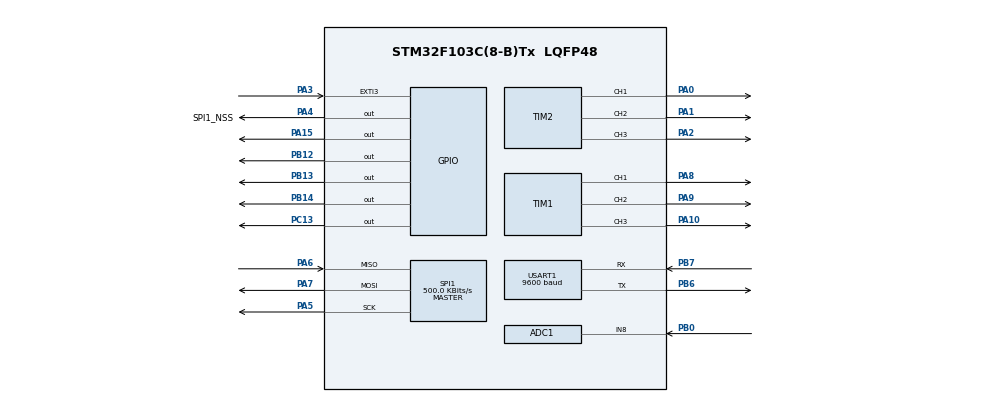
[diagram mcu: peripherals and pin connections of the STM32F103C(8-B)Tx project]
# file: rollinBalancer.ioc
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ADC1.Channel-2\#ChannelRegularConversion=ADC_CHANNEL_8
ADC1.NbrOfConversionFlag=1
ADC1.Rank-2\#ChannelRegularConversion=1
ADC1.SamplingTime-2\#ChannelRegularConversion=ADC_SAMPLETIME_1CYCLE_5
ADC1.master=1
Mcu.Family=STM32F1
Mcu.Name=STM32F103C(8-B)Tx
Mcu.Package=LQFP48
NVIC.EXTI3_IRQn=true\:0\:0\:false\:false\:true\:true\:true\:true
NVIC.PriorityGroup=NVIC_PRIORITYGROUP_4
NVIC.TIM1_CC_IRQn=true\:0\:0\:false\:false\:true\:true\:true\:true
PA0-WKUP.Signal=S_TIM2_CH1_ETR
PA1.Signal=S_TIM2_CH2
PA10.Signal=S_TIM1_CH3
PA13.Mode=Serial_Wire
PA13.Signal=SYS_JTMS-SWDIO
PA14.Mode=Serial_Wire
PA14.Signal=SYS_JTCK-SWCLK
PA15.Signal=GPIO_Output
PA2.Signal=S_TIM2_CH3
PA3.GPIO_PuPd=GPIO_PULLUP
PA3.Signal=GPXTI3
PA4.GPIO_Label=SPI1_NSS
PA4.PinState=GPIO_PIN_SET
PA4.Signal=GPIO_Output
PA5.Mode=Full_Duplex_Master
PA5.Signal=SPI1_SCK
PA6.Mode=Full_Duplex_Master
PA6.Signal=SPI1_MISO
PA7.Mode=Full_Duplex_Master
PA7.Signal=SPI1_MOSI
PA8.Signal=S_TIM1_CH1
PA9.Signal=S_TIM1_CH2
PB0.Signal=ADCx_IN8
PB12.Signal=GPIO_Output
PB13.Signal=GPIO_Output
PB14.Signal=GPIO_Output
PB6.Mode=Asynchronous
PB6.Signal=USART1_TX
PB7.Mode=Asynchronous
PB7.Signal=USART1_RX
PC13-TAMPER-RTC.Signal=GPIO_Output
PD0-OSC_IN.Mode=HSE-External-Oscillator
PD0-OSC_IN.Signal=RCC_OSC_IN
PD1-OSC_OUT.Mode=HSE-External-Oscillator
PD1-OSC_OUT.Signal=RCC_OSC_OUT
ProjectManager.HeapSize=0x200
ProjectManager.StackSize=0x400
ProjectManager.TargetToolchain=STM32CubeIDE
RCC.AHBFreq_Value=8000000
RCC.APB1CLKDivider=RCC_HCLK_DIV2
RCC.APB1Freq_Value=4000000
RCC.APB1TimFreq_Value=8000000
RCC.APB2CLKDivider=RCC_HCLK_DIV2
RCC.APB2Freq_Value=4000000
RCC.APB2TimFreq_Value=8000000
RCC.HCLKFreq_Value=8000000
RCC.PLLMUL=RCC_PLL_MUL6
RCC.PLLSourceVirtual=RCC_PLLSOURCE_HSE
RCC.SYSCLKFreq_VALUE=8000000
RCC.USBFreq_Value=48000000
SH.ADCx_IN8.0=ADC1_IN8,IN8
SH.S_TIM1_CH1.0=TIM1_CH1,PWM Generation1 CH1
SH.S_TIM1_CH2.0=TIM1_CH2,PWM Generation2 CH2
SH.S_TIM1_CH3.0=TIM1_CH3,PWM Generation3 CH3
SH.S_TIM2_CH1_ETR.0=TIM2_CH1,PWM Generation1 CH1
SH.S_TIM2_CH2.0=TIM2_CH2,PWM Generation2 CH2
SH.S_TIM2_CH3.0=TIM2_CH3,PWM Generation3 CH3
SPI1.BaudRatePrescaler=SPI_BAUDRATEPRESCALER_8
SPI1.CLKPhase=SPI_PHASE_2EDGE
SPI1.CLKPolarity=SPI_POLARITY_HIGH
SPI1.CRCCalculation=SPI_CRCCALCULATION_DISABLE
SPI1.CalculateBaudRate=500.0 KBits/s
SPI1.Direction=SPI_DIRECTION_2LINES
SPI1.Mode=SPI_MODE_MASTER
SPI1.VirtualType=VM_MASTER
TIM1.AutoReloadPreload=TIM_AUTORELOAD_PRELOAD_ENABLE
TIM1.Channel-PWM\ Generation1\ CH1=TIM_CHANNEL_1
TIM1.Channel-PWM\ Generation2\ CH2=TIM_CHANNEL_2
TIM1.Channel-PWM\ Generation3\ CH3=TIM_CHANNEL_3
TIM2.Channel-PWM\ Generation1\ CH1=TIM_CHANNEL_1
TIM2.Channel-PWM\ Generation2\ CH2=TIM_CHANNEL_2
TIM2.Channel-PWM\ Generation3\ CH3=TIM_CHANNEL_3
USART1.BaudRate=9600
USART1.VirtualMode=VM_ASYNC
VP_TIM1_VS_ClockSourceINT.Mode=Internal
VP_TIM2_VS_ClockSourceINT.Mode=Internal
board=custom

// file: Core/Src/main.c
/* USER CODE BEGIN Header */
/**
  ******************************************************************************
  * @file           : main.c
  * @brief          : Main program body
  ******************************************************************************
  * @attention
  *
  * <h2><center>&copy; Copyright (c) 2022 STMicroelectronics.
  * All rights reserved.</center></h2>
  *
  * This software component is licensed by ST under Ultimate Liberty license
  * SLA0044, the "License"; You may not use this file except in compliance with
  * the License. You may obtain a copy of the License at:
  *                             www.st.com/SLA0044
  *
  ******************************************************************************
  */
/* USER CODE END Header */
#include "main.h"

/* USER CODE BEGIN Includes */
#include "mpu9250.h"
#include "as5600.h"
#include "string_buffer.h"

/* USER CODE END Includes */

ADC_HandleTypeDef hadc1;

UART_HandleTypeDef huart1;

void SystemClock_Config(void);
static void MX_GPIO_Init(void);
static void MX_TIM1_Init(void);
static void MX_TIM2_Init(void);
static void MX_SPI1_Init(void);
static void MX_ADC1_Init(void);
static void MX_USART1_UART_Init(void);

/* USER CODE BEGIN 0 */
void _wait_some_time(void) {
	for(uint32_t cnt = 50000; cnt; cnt--) {
		asm("NOP");
	}
}

static float acc_xy_angle_deg;
static float gyr_z_angle_deg_rate, gyr_z_angle_deg;
static float angle_deg, angle_deg_prev = 0;

float get_angle_deg(void) {
	return angle_deg;
}

void read_mpu9250_values(void) {
	mpu9250_read_sensor_values();
	acc_xy_angle_deg = mpu9250_get_acc_xy_angle_deg();
	acc_xy_angle_deg -= 90.0f;
	gyr_z_angle_deg_rate = mpu9250_get_gyr_z_angle_rate_deg_pro_s();
	gyr_z_angle_deg = gyr_z_angle_deg_rate * 0.01201;//0.01192; //meas_time in s

	// complementary filter for angle from accelerometer and gyroscope
	angle_deg = 0.95 * (angle_deg_prev + gyr_z_angle_deg) + 0.05 * acc_xy_angle_deg;
	angle_deg_prev = angle_deg;
}

static void read_mpu9250_string(void) {
	read_mpu9250_values();
	uint16_t ang = as5600_read_angle();

	string_buffer_new();
	string_buffer_append_float(acc_xy_angle_deg, 3);
	string_buffer_append_separator();
	string_buffer_append_float(gyr_z_angle_deg, 3);
	string_buffer_append_separator();
	string_buffer_append_float(angle_deg, 3);
	string_buffer_append_separator();
	string_buffer_append_int16((int16_t)ang);
	string_buffer_append_separator();
	string_buffer_append_int16(0);
	string_buffer_append_char('\n');

	angle_deg_prev = angle_deg;
	string_buffer_send_usb();
}

/* USER CODE END 0 */

int main(void)
{

  /* MCU Configuration--------------------------------------------------------*/

  /* Reset of all peripherals, Initializes the Flash interface and the Systick. */
  HAL_Init();

  /* Configure the system clock */
  SystemClock_Config();

  /* Initialize all configured peripherals */
  MX_GPIO_Init();
  MX_TIM1_Init();
  MX_TIM2_Init();
  MX_SPI1_Init();
  MX_ADC1_Init();
  MX_USART1_UART_Init();
  /* USER CODE BEGIN 2 */

  mpu9250_init();
  /* USER CODE END 2 */

  /* Infinite loop */
  /* USER CODE BEGIN WHILE */
  while (1)
  {
	  read_mpu9250_string();

	  _wait_some_time();
    /* USER CODE END WHILE */

  }
}

void SystemClock_Config(void)
{
  LL_FLASH_SetLatency(LL_FLASH_LATENCY_0);
  while(LL_FLASH_GetLatency()!= LL_FLASH_LATENCY_0)
  {
  }
  LL_RCC_HSI_SetCalibTrimming(16);
  LL_RCC_HSI_Enable();

   /* Wait till HSI is ready */
  while(LL_RCC_HSI_IsReady() != 1)
  {

  }
  LL_RCC_SetAHBPrescaler(LL_RCC_SYSCLK_DIV_1);
  LL_RCC_SetAPB1Prescaler(LL_RCC_APB1_DIV_2);
  LL_RCC_SetAPB2Prescaler(LL_RCC_APB2_DIV_2);
  LL_RCC_SetSysClkSource(LL_RCC_SYS_CLKSOURCE_HSI);

   /* Wait till System clock is ready */
  while(LL_RCC_GetSysClkSource() != LL_RCC_SYS_CLKSOURCE_STATUS_HSI)
  {

  }
  LL_SetSystemCoreClock(8000000);

   /* Update the time base */
  if (HAL_InitTick (TICK_INT_PRIORITY) != HAL_OK)
  {
    Error_Handler();
  }
  LL_RCC_SetADCClockSource(LL_RCC_ADC_CLKSRC_PCLK2_DIV_2);
}

static void MX_ADC1_Init(void)
{

  ADC_ChannelConfTypeDef sConfig = {0};

  /** Common config
  */
  hadc1.Instance = ADC1;
  hadc1.Init.ScanConvMode = ADC_SCAN_DISABLE;
  hadc1.Init.ContinuousConvMode = DISABLE;
  hadc1.Init.DiscontinuousConvMode = DISABLE;
  hadc1.Init.ExternalTrigConv = ADC_SOFTWARE_START;
  hadc1.Init.DataAlign = ADC_DATAALIGN_RIGHT;
  hadc1.Init.NbrOfConversion = 1;
  if (HAL_ADC_Init(&hadc1) != HAL_OK)
  {
    Error_Handler();
  }

  /** Configure Regular Channel
  */
  sConfig.Channel = ADC_CHANNEL_8;
  sConfig.Rank = ADC_REGULAR_RANK_1;
  sConfig.SamplingTime = ADC_SAMPLETIME_1CYCLE_5;
  if (HAL_ADC_ConfigChannel(&hadc1, &sConfig) != HAL_OK)
  {
    Error_Handler();
  }

}

static void MX_SPI1_Init(void)
{

  LL_SPI_InitTypeDef SPI_InitStruct = {0};

  LL_GPIO_InitTypeDef GPIO_InitStruct = {0};

  /* Peripheral clock enable */
  LL_APB2_GRP1_EnableClock(LL_APB2_GRP1_PERIPH_SPI1);

  LL_APB2_GRP1_EnableClock(LL_APB2_GRP1_PERIPH_GPIOA);
  /**SPI1 GPIO Configuration
  PA5   ------> SPI1_SCK
  PA6   ------> SPI1_MISO
  PA7   ------> SPI1_MOSI
  */
  GPIO_InitStruct.Pin = LL_GPIO_PIN_5|LL_GPIO_PIN_7;
  GPIO_InitStruct.Mode = LL_GPIO_MODE_ALTERNATE;
  GPIO_InitStruct.Speed = LL_GPIO_SPEED_FREQ_HIGH;
  GPIO_InitStruct.OutputType = LL_GPIO_OUTPUT_PUSHPULL;
  LL_GPIO_Init(GPIOA, &GPIO_InitStruct);

  GPIO_InitStruct.Pin = LL_GPIO_PIN_6;
  GPIO_InitStruct.Mode = LL_GPIO_MODE_FLOATING;
  LL_GPIO_Init(GPIOA, &GPIO_InitStruct);

  /* SPI1 parameter configuration*/
  SPI_InitStruct.TransferDirection = LL_SPI_FULL_DUPLEX;
  SPI_InitStruct.Mode = LL_SPI_MODE_MASTER;
  SPI_InitStruct.DataWidth = LL_SPI_DATAWIDTH_8BIT;
  SPI_InitStruct.ClockPolarity = LL_SPI_POLARITY_HIGH;
  SPI_InitStruct.ClockPhase = LL_SPI_PHASE_2EDGE;
  SPI_InitStruct.NSS = LL_SPI_NSS_SOFT;
  SPI_InitStruct.BaudRate = LL_SPI_BAUDRATEPRESCALER_DIV8;
  SPI_InitStruct.BitOrder = LL_SPI_MSB_FIRST;
  SPI_InitStruct.CRCCalculation = LL_SPI_CRCCALCULATION_DISABLE;
  SPI_InitStruct.CRCPoly = 10;
  LL_SPI_Init(SPI1, &SPI_InitStruct);

}

static void MX_TIM1_Init(void)
{

  LL_TIM_InitTypeDef TIM_InitStruct = {0};
  LL_TIM_OC_InitTypeDef TIM_OC_InitStruct = {0};
  LL_TIM_BDTR_InitTypeDef TIM_BDTRInitStruct = {0};

  LL_GPIO_InitTypeDef GPIO_InitStruct = {0};

  /* Peripheral clock enable */
  LL_APB2_GRP1_EnableClock(LL_APB2_GRP1_PERIPH_TIM1);

  /* TIM1 interrupt Init */
  NVIC_SetPriority(TIM1_CC_IRQn, NVIC_EncodePriority(NVIC_GetPriorityGrouping(),0, 0));
  NVIC_EnableIRQ(TIM1_CC_IRQn);

  TIM_InitStruct.Prescaler = 0;
  TIM_InitStruct.CounterMode = LL_TIM_COUNTERMODE_UP;
  TIM_InitStruct.Autoreload = 65535;
  TIM_InitStruct.ClockDivision = LL_TIM_CLOCKDIVISION_DIV1;
  TIM_InitStruct.RepetitionCounter = 0;
  LL_TIM_Init(TIM1, &TIM_InitStruct);
  LL_TIM_EnableARRPreload(TIM1);
  LL_TIM_SetClockSource(TIM1, LL_TIM_CLOCKSOURCE_INTERNAL);
  LL_TIM_OC_EnablePreload(TIM1, LL_TIM_CHANNEL_CH1);
  TIM_OC_InitStruct.OCMode = LL_TIM_OCMODE_PWM1;
  TIM_OC_InitStruct.OCState = LL_TIM_OCSTATE_DISABLE;
  TIM_OC_InitStruct.OCNState = LL_TIM_OCSTATE_DISABLE;
  TIM_OC_InitStruct.CompareValue = 0;
  TIM_OC_InitStruct.OCPolarity = LL_TIM_OCPOLARITY_HIGH;
  TIM_OC_InitStruct.OCNPolarity = LL_TIM_OCPOLARITY_HIGH;
  TIM_OC_InitStruct.OCIdleState = LL_TIM_OCIDLESTATE_LOW;
  TIM_OC_InitStruct.OCNIdleState = LL_TIM_OCIDLESTATE_LOW;
  LL_TIM_OC_Init(TIM1, LL_TIM_CHANNEL_CH1, &TIM_OC_InitStruct);
  LL_TIM_OC_DisableFast(TIM1, LL_TIM_CHANNEL_CH1);
  LL_TIM_OC_EnablePreload(TIM1, LL_TIM_CHANNEL_CH2);
  LL_TIM_OC_Init(TIM1, LL_TIM_CHANNEL_CH2, &TIM_OC_InitStruct);
  LL_TIM_OC_DisableFast(TIM1, LL_TIM_CHANNEL_CH2);
  LL_TIM_OC_EnablePreload(TIM1, LL_TIM_CHANNEL_CH3);
  LL_TIM_OC_Init(TIM1, LL_TIM_CHANNEL_CH3, &TIM_OC_InitStruct);
  LL_TIM_OC_DisableFast(TIM1, LL_TIM_CHANNEL_CH3);
  LL_TIM_SetTriggerOutput(TIM1, LL_TIM_TRGO_RESET);
  LL_TIM_DisableMasterSlaveMode(TIM1);
  TIM_BDTRInitStruct.OSSRState = LL_TIM_OSSR_DISABLE;
  TIM_BDTRInitStruct.OSSIState = LL_TIM_OSSI_DISABLE;
  TIM_BDTRInitStruct.LockLevel = LL_TIM_LOCKLEVEL_OFF;
  TIM_BDTRInitStruct.DeadTime = 0;
  TIM_BDTRInitStruct.BreakState = LL_TIM_BREAK_DISABLE;
  TIM_BDTRInitStruct.BreakPolarity = LL_TIM_BREAK_POLARITY_HIGH;
  TIM_BDTRInitStruct.AutomaticOutput = LL_TIM_AUTOMATICOUTPUT_DISABLE;
  LL_TIM_BDTR_Init(TIM1, &TIM_BDTRInitStruct);
  LL_APB2_GRP1_EnableClock(LL_APB2_GRP1_PERIPH_GPIOA);
  /**TIM1 GPIO Configuration
  PA8   ------> TIM1_CH1
  PA9   ------> TIM1_CH2
  PA10   ------> TIM1_CH3
  */
  GPIO_InitStruct.Pin = LL_GPIO_PIN_8|LL_GPIO_PIN_9|LL_GPIO_PIN_10;
  GPIO_InitStruct.Mode = LL_GPIO_MODE_ALTERNATE;
  GPIO_InitStruct.Speed = LL_GPIO_SPEED_FREQ_LOW;
  GPIO_InitStruct.OutputType = LL_GPIO_OUTPUT_PUSHPULL;
  LL_GPIO_Init(GPIOA, &GPIO_InitStruct);

}

static void MX_TIM2_Init(void)
{

  LL_TIM_InitTypeDef TIM_InitStruct = {0};
  LL_TIM_OC_InitTypeDef TIM_OC_InitStruct = {0};

  LL_GPIO_InitTypeDef GPIO_InitStruct = {0};

  /* Peripheral clock enable */
  LL_APB1_GRP1_EnableClock(LL_APB1_GRP1_PERIPH_TIM2);

  TIM_InitStruct.Prescaler = 0;
  TIM_InitStruct.CounterMode = LL_TIM_COUNTERMODE_UP;
  TIM_InitStruct.Autoreload = 65535;
  TIM_InitStruct.ClockDivision = LL_TIM_CLOCKDIVISION_DIV1;
  LL_TIM_Init(TIM2, &TIM_InitStruct);
  LL_TIM_DisableARRPreload(TIM2);
  LL_TIM_SetClockSource(TIM2, LL_TIM_CLOCKSOURCE_INTERNAL);
  LL_TIM_OC_EnablePreload(TIM2, LL_TIM_CHANNEL_CH1);
  TIM_OC_InitStruct.OCMode = LL_TIM_OCMODE_PWM1;
  TIM_OC_InitStruct.OCState = LL_TIM_OCSTATE_DISABLE;
  TIM_OC_InitStruct.OCNState = LL_TIM_OCSTATE_DISABLE;
  TIM_OC_InitStruct.CompareValue = 0;
  TIM_OC_InitStruct.OCPolarity = LL_TIM_OCPOLARITY_HIGH;
  LL_TIM_OC_Init(TIM2, LL_TIM_CHANNEL_CH1, &TIM_OC_InitStruct);
  LL_TIM_OC_DisableFast(TIM2, LL_TIM_CHANNEL_CH1);
  LL_TIM_OC_EnablePreload(TIM2, LL_TIM_CHANNEL_CH2);
  LL_TIM_OC_Init(TIM2, LL_TIM_CHANNEL_CH2, &TIM_OC_InitStruct);
  LL_TIM_OC_DisableFast(TIM2, LL_TIM_CHANNEL_CH2);
  LL_TIM_OC_EnablePreload(TIM2, LL_TIM_CHANNEL_CH3);
  LL_TIM_OC_Init(TIM2, LL_TIM_CHANNEL_CH3, &TIM_OC_InitStruct);
  LL_TIM_OC_DisableFast(TIM2, LL_TIM_CHANNEL_CH3);
  LL_TIM_SetTriggerOutput(TIM2, LL_TIM_TRGO_RESET);
  LL_TIM_DisableMasterSlaveMode(TIM2);
  LL_APB2_GRP1_EnableClock(LL_APB2_GRP1_PERIPH_GPIOA);
  /**TIM2 GPIO Configuration
  PA0-WKUP   ------> TIM2_CH1
  PA1   ------> TIM2_CH2
  PA2   ------> TIM2_CH3
  */
  GPIO_InitStruct.Pin = LL_GPIO_PIN_0|LL_GPIO_PIN_1|LL_GPIO_PIN_2;
  GPIO_InitStruct.Mode = LL_GPIO_MODE_ALTERNATE;
  GPIO_InitStruct.Speed = LL_GPIO_SPEED_FREQ_LOW;
  GPIO_InitStruct.OutputType = LL_GPIO_OUTPUT_PUSHPULL;
  LL_GPIO_Init(GPIOA, &GPIO_InitStruct);

}

static void MX_USART1_UART_Init(void)
{

  huart1.Instance = USART1;
  huart1.Init.BaudRate = 9600;
  huart1.Init.WordLength = UART_WORDLENGTH_8B;
  huart1.Init.StopBits = UART_STOPBITS_1;
  huart1.Init.Parity = UART_PARITY_NONE;
  huart1.Init.Mode = UART_MODE_TX_RX;
  huart1.Init.HwFlowCtl = UART_HWCONTROL_NONE;
  huart1.Init.OverSampling = UART_OVERSAMPLING_16;
  if (HAL_UART_Init(&huart1) != HAL_OK)
  {
    Error_Handler();
  }

}

static void MX_GPIO_Init(void)
{
  LL_EXTI_InitTypeDef EXTI_InitStruct = {0};
  LL_GPIO_InitTypeDef GPIO_InitStruct = {0};

  /* GPIO Ports Clock Enable */
  LL_APB2_GRP1_EnableClock(LL_APB2_GRP1_PERIPH_GPIOC);
  LL_APB2_GRP1_EnableClock(LL_APB2_GRP1_PERIPH_GPIOD);
  LL_APB2_GRP1_EnableClock(LL_APB2_GRP1_PERIPH_GPIOA);
  LL_APB2_GRP1_EnableClock(LL_APB2_GRP1_PERIPH_GPIOB);

  /**/
  LL_GPIO_ResetOutputPin(GPIOC, LL_GPIO_PIN_13);

  /**/
  LL_GPIO_ResetOutputPin(GPIOB, LL_GPIO_PIN_12|LL_GPIO_PIN_13|LL_GPIO_PIN_14);

  /**/
  LL_GPIO_ResetOutputPin(GPIOA, LL_GPIO_PIN_15);

  /**/
  LL_GPIO_SetOutputPin(SPI1_NSS_GPIO_Port, SPI1_NSS_Pin);

  /**/
  GPIO_InitStruct.Pin = LL_GPIO_PIN_13;
  GPIO_InitStruct.Mode = LL_GPIO_MODE_OUTPUT;
  GPIO_InitStruct.Speed = LL_GPIO_SPEED_FREQ_LOW;
  GPIO_InitStruct.OutputType = LL_GPIO_OUTPUT_PUSHPULL;
  LL_GPIO_Init(GPIOC, &GPIO_InitStruct);

  /**/
  GPIO_InitStruct.Pin = SPI1_NSS_Pin|LL_GPIO_PIN_15;
  GPIO_InitStruct.Mode = LL_GPIO_MODE_OUTPUT;
  GPIO_InitStruct.Speed = LL_GPIO_SPEED_FREQ_LOW;
  GPIO_InitStruct.OutputType = LL_GPIO_OUTPUT_PUSHPULL;
  LL_GPIO_Init(GPIOA, &GPIO_InitStruct);

  /**/
  GPIO_InitStruct.Pin = LL_GPIO_PIN_12|LL_GPIO_PIN_13|LL_GPIO_PIN_14;
  GPIO_InitStruct.Mode = LL_GPIO_MODE_OUTPUT;
  GPIO_InitStruct.Speed = LL_GPIO_SPEED_FREQ_LOW;
  GPIO_InitStruct.OutputType = LL_GPIO_OUTPUT_PUSHPULL;
  LL_GPIO_Init(GPIOB, &GPIO_InitStruct);

  /**/
  LL_GPIO_AF_SetEXTISource(LL_GPIO_AF_EXTI_PORTA, LL_GPIO_AF_EXTI_LINE3);

  /**/
  EXTI_InitStruct.Line_0_31 = LL_EXTI_LINE_3;
  EXTI_InitStruct.LineCommand = ENABLE;
  EXTI_InitStruct.Mode = LL_EXTI_MODE_IT;
  EXTI_InitStruct.Trigger = LL_EXTI_TRIGGER_RISING;
  LL_EXTI_Init(&EXTI_InitStruct);

  /**/
  LL_GPIO_SetPinPull(GPIOA, LL_GPIO_PIN_3, LL_GPIO_PULL_UP);

  /**/
  LL_GPIO_SetPinMode(GPIOA, LL_GPIO_PIN_3, LL_GPIO_MODE_INPUT);

  /* EXTI interrupt init*/
  NVIC_SetPriority(EXTI3_IRQn, NVIC_EncodePriority(NVIC_GetPriorityGrouping(),0, 0));
  NVIC_EnableIRQ(EXTI3_IRQn);

}

void Error_Handler(void)
{
}
